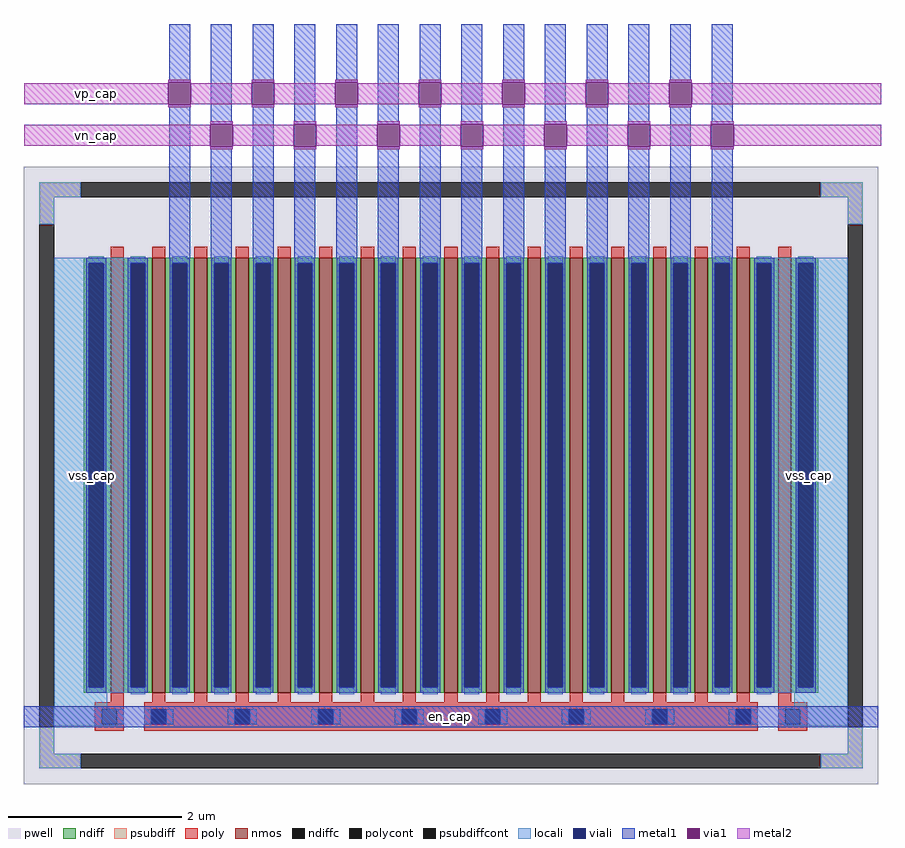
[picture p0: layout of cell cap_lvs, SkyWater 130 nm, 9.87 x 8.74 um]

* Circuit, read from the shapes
.subckt cap_lvs vss_cap en_cap vp_cap vn_cap
XM1 vss_cap vss_cap vss_cap vss_cap sky130_fd_pr__nfet_01v8 w=5 l=0.15 m=2
XM2 vp_cap en_cap vss_cap vss_cap sky130_fd_pr__nfet_01v8 w=5 l=0.15
XM3 vn_cap en_cap vp_cap vss_cap sky130_fd_pr__nfet_01v8 w=5 l=0.15 m=13
XM4 vss_cap en_cap vn_cap vss_cap sky130_fd_pr__nfet_01v8 w=5 l=0.15
.ends

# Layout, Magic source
magic
tech sky130A
magscale 1 2
<< locali >>
rect -61 170 115 1170
rect 1589 170 1765 1170
rect -61 134 62 170
rect 1642 134 1765 170
rect -62 132 62 134
rect -62 94 86 132
rect 1617 94 1765 134
<< metal1 >>
rect 204 1580 252 1708
rect 202 1574 254 1580
rect 202 1516 254 1522
rect 204 1170 252 1516
rect 300 1484 348 1708
rect 396 1580 444 1708
rect 394 1574 446 1580
rect 394 1516 446 1522
rect 298 1478 350 1484
rect 298 1420 350 1426
rect 300 1170 348 1420
rect 396 1170 444 1516
rect 492 1484 540 1708
rect 588 1580 636 1708
rect 586 1574 638 1580
rect 586 1516 638 1522
rect 490 1478 542 1484
rect 490 1420 542 1426
rect 492 1170 540 1420
rect 588 1170 636 1516
rect 684 1484 732 1708
rect 780 1580 828 1708
rect 778 1574 830 1580
rect 778 1516 830 1522
rect 682 1478 734 1484
rect 682 1420 734 1426
rect 684 1170 732 1420
rect 780 1170 828 1516
rect 876 1484 924 1708
rect 972 1580 1020 1708
rect 970 1574 1022 1580
rect 970 1516 1022 1522
rect 874 1478 926 1484
rect 874 1420 926 1426
rect 876 1170 924 1420
rect 972 1170 1020 1516
rect 1068 1484 1116 1708
rect 1164 1580 1212 1708
rect 1162 1574 1214 1580
rect 1162 1516 1214 1522
rect 1066 1478 1118 1484
rect 1066 1420 1118 1426
rect 1068 1170 1116 1420
rect 1164 1170 1212 1516
rect 1260 1484 1308 1708
rect 1356 1580 1404 1708
rect 1354 1574 1406 1580
rect 1354 1516 1406 1522
rect 1258 1478 1310 1484
rect 1258 1420 1310 1426
rect 1260 1170 1308 1420
rect 1356 1170 1404 1516
rect 1452 1484 1500 1708
rect 1450 1478 1502 1484
rect 1450 1420 1502 1426
rect 1452 1170 1500 1420
rect -131 91 1835 139
<< via1 >>
rect 202 1522 254 1574
rect 394 1522 446 1574
rect 298 1426 350 1478
rect 586 1522 638 1574
rect 490 1426 542 1478
rect 778 1522 830 1574
rect 682 1426 734 1478
rect 970 1522 1022 1574
rect 874 1426 926 1478
rect 1162 1522 1214 1574
rect 1066 1426 1118 1478
rect 1354 1522 1406 1574
rect 1258 1426 1310 1478
rect 1450 1426 1502 1478
<< metal2 >>
rect 202 1574 254 1580
rect -130 1524 202 1572
rect 394 1574 446 1580
rect 254 1524 394 1572
rect 202 1516 254 1522
rect 586 1574 638 1580
rect 446 1524 586 1572
rect 394 1516 446 1522
rect 778 1574 830 1580
rect 638 1524 778 1572
rect 586 1516 638 1522
rect 970 1574 1022 1580
rect 830 1524 970 1572
rect 778 1516 830 1522
rect 1162 1574 1214 1580
rect 1022 1524 1162 1572
rect 970 1516 1022 1522
rect 1354 1574 1406 1580
rect 1214 1524 1354 1572
rect 1162 1516 1214 1522
rect 1406 1524 1842 1572
rect 1354 1516 1406 1522
rect 298 1478 350 1484
rect -130 1428 298 1476
rect 490 1478 542 1484
rect 350 1428 490 1476
rect 298 1420 350 1426
rect 682 1478 734 1484
rect 542 1428 682 1476
rect 490 1420 542 1426
rect 874 1478 926 1484
rect 734 1428 874 1476
rect 682 1420 734 1426
rect 1066 1478 1118 1484
rect 926 1428 1066 1476
rect 874 1420 926 1426
rect 1258 1478 1310 1484
rect 1118 1428 1258 1476
rect 1066 1420 1118 1426
rect 1450 1478 1502 1484
rect 1310 1428 1450 1476
rect 1258 1420 1310 1426
rect 1502 1428 1842 1476
rect 1450 1420 1502 1426
use sky130_fd_pr__nfet_01v8_YN9FL4  sky130_fd_pr__nfet_01v8_UDPJLN_0
transform 1 0 852 0 1 670
box -983 -710 983 710
<< labels >>
flabel locali -61 170 115 1170 0 FreeSans 240 0 0 0 vss_cap
port 0 nsew
flabel locali 1589 170 1765 1170 0 FreeSans 240 0 0 0 vss_cap
port 0 nsew
flabel metal1 -131 91 1835 139 0 FreeSans 240 0 0 0 en_cap
port 1 nsew
flabel metal2 -130 1524 202 1572 0 FreeSans 240 0 0 0 vp_cap
port 2 nsew
flabel metal2 -130 1428 202 1476 0 FreeSans 240 0 0 0 vn_cap
port 3 nsew
<< end >>

# cell sky130_fd_pr__nfet_01v8_YN9FL4: kit device sky130_fd_pr__nfet_01v8, w 5 l 0.150 m 1 nf 17 diffcov 100 polycov 100 guard 1 glc 1 grc 1 gtc 1 gbc 1 tbcov 100 rlcov 100 topc 1 botc 1 poverlap 0 doverlap 1 lmin 0.15 wmin 0.42 compatible {sky130_fd_pr__nfet_01v8 sky130_fd_pr__nfet_01v8_lvt sky130_fd_bs_flash__special_sonosfet_star sky130_fd_pr__nfet_g5v0d10v5 sky130_fd_pr__nfet_05v0_nvt sky130_fd_pr__nfet_03v3_nvt} full_metal 1 viasrc 100 viadrn 100 viagate 100 viagb 0 viagr 0 viagl 0 viagt 0
